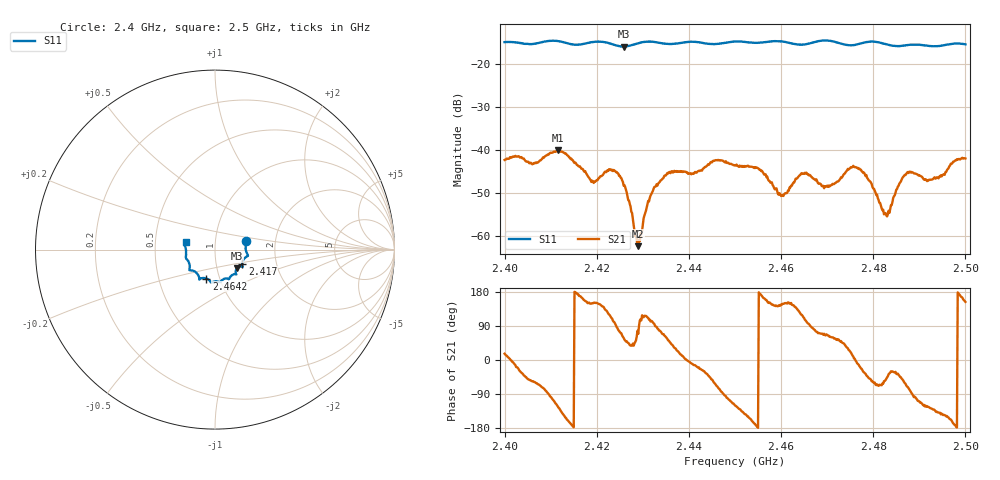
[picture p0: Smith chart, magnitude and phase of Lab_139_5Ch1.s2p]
# Hz S RI R 50
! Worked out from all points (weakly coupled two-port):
!   601 points, 2.4 GHz to 2.5 GHz, reference 50 ohm
!   highest |S21| = -40.10 dB at 2.4117 GHz (marker M1); lowest = -62.3 dB at 2.429 GHz (marker M2)
!   lowest |S11| = -15.9 dB at 2.4258 GHz (marker M3), VSWR 1.38, Z = 62.3 - j13.3 ohm
!   |S11| at or under -10 dB: start of sweep to end of sweep
!   S12 and S22 are empty: the file has one direction only
!   S11 on the Smith chart (normalised r, x): 2.4 GHz: 1.41, +0.14; 2.417 GHz: 1.34, -0.22; 2.4642 GHz: 0.86, -0.29; 2.5 GHz: 0.72, +0.06
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2.4e9  0.1732 0.0493  0.00736 0.0022  0 0  0 0
2.411667e9  0.1814 -0.0366  -0.00572 -0.00807  0 0  0 0
2.416667e9  0.1527 -0.0744  -0.00587 0.00155  0 0  0 0
2.417e9  0.1523 -0.0784  -0.00568 0.00191  0 0  0 0
2.419333e9  0.1536 -0.0958  -0.00363 0.002  0 0  0 0
2.4235e9  0.1413 -0.0938  -0.00135 0.00554  0 0  0 0
2.425833e9  0.1216 -0.1037  0.00202 0.00328  0 0  0 0
2.429e9  0.1158 -0.1311  0.000275 0.000712  0 0  0 0
2.431333e9  0.119 -0.1383  -0.000722 0.00242  0 0  0 0
2.433333e9  0.113 -0.137  0.000594 0.00404  0 0  0 0
2.445667e9  0.0505 -0.1632  0.00349 -0.00673  0 0  0 0
2.45e9  0.0295 -0.1808  -0.00329 -0.00572  0 0  0 0
2.455333e9  -0.00116 -0.1772  -0.00587 0.00054  0 0  0 0
2.46e9  -0.0234 -0.1823  -0.00244 0.00161  0 0  0 0
2.464167e9  -0.0479 -0.1612  -0.00284 0.00429  0 0  0 0
2.466667e9  -0.0758 -0.1596  0.000369 0.00485  0 0  0 0
2.469833e9  -0.0877 -0.1664  0.00144 0.00351  0 0  0 0
2.476667e9  -0.1231 -0.1173  0.00611 -0.00111  0 0  0 0
2.483333e9  -0.1408 -0.0898  0.00157 -0.0012  0 0  0 0
2.487333e9  -0.157 -0.0543  0.00187 -0.00513  0 0  0 0
2.492167e9  -0.1608 -0.0235  -0.00258 -0.00367  0 0  0 0
2.5e9  -0.1642 0.0423  -0.00714 0.00357  0 0  0 0
